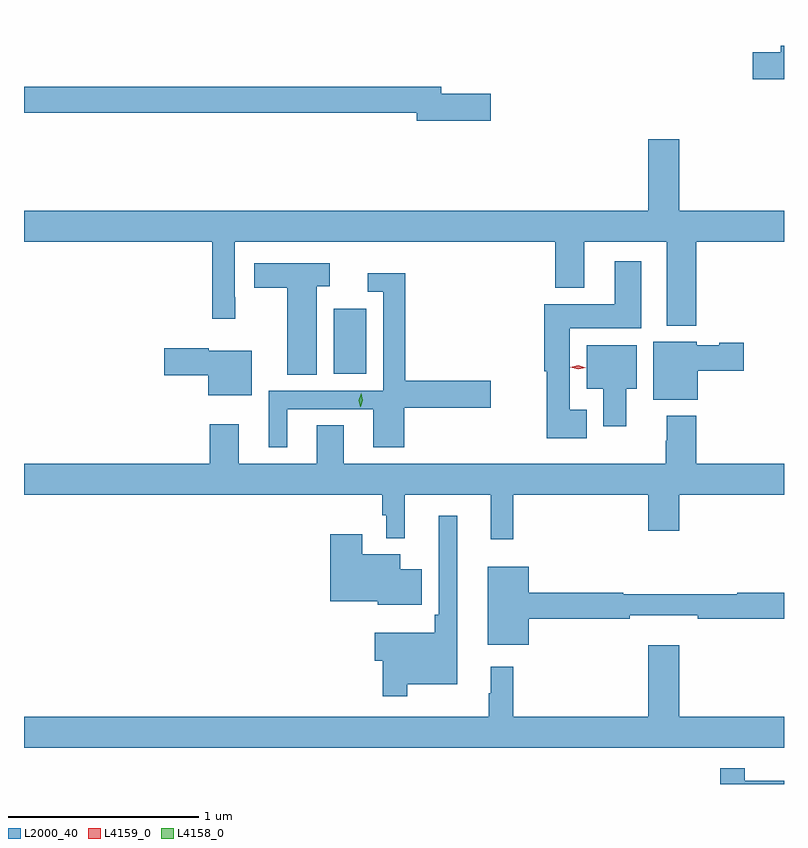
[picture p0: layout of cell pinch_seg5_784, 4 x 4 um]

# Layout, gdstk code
import gdstk
lib = gdstk.Library(unit=1e-6, precision=1e-09)
def R(c, l, rs):  # rectangles x0, y0, x1, y1
    for r in rs: c.add(gdstk.rectangle(r[:2], r[2:], *l))
def P(c, l, *ps):  # polygons
    for p in ps: c.add(gdstk.Polygon(p, *l))
L2000_40 = (2000, 40)
L4158_0 = (4158, 0)
L4159_0 = (4159, 0)

pinch_seg5_784 = lib.new_cell('pinch_seg5_784')
R(pinch_seg5_784, L2000_40, [(762.752,913.34,762.925,913.684), (764.408,915.18,764.572,915.182)])
P(pinch_seg5_784, L2000_40, [(765.123,915.067),(765.107,915.067),(765.107,915.033),(764.958,915.033),(764.958,914.891),(765.123,914.891)],
  [(763.579,914.816),(763.318,914.816),(763.318,914.852),(761.123,914.852),(761.123,914.716),(763.19,914.716),(763.19,914.674),(763.579,914.674)],
  [(764.66,914.036),(765.123,914.036),(765.123,914.2),(764.572,914.2),(764.572,914.575),(764.408,914.575),(764.408,914.2),(761.123,914.2),(761.123,914.036),(762.115,914.036),(762.115,913.632),(762.236,913.632),(762.236,913.744),(762.231,913.744),(762.231,914.036),(763.919,914.036),(763.919,913.793),(764.071,913.793),(764.071,914.036),(764.507,914.036),(764.507,913.595),(764.66,913.595)],
  [(764.086,913.153),(763.996,913.153),(763.996,913.58),(764.371,913.58),(764.371,913.933),(764.231,913.933),(764.231,913.708),(763.862,913.708),(763.862,913.355),(763.874,913.355),(763.874,913.001),(764.086,913.001)],
  [(762.664,913.802),(762.733,913.802),(762.733,913.924),(762.336,913.924),(762.336,913.795),(762.509,913.795),(762.509,913.336),(762.664,913.336)],
  [(762.508,913.155),(762.962,913.155),(762.962,912.954),(763.124,912.954),(763.124,913.162),(763.579,913.162),(763.579,913.304),(763.13,913.304),(763.13,913.87),(762.933,913.87),(762.933,913.773),(763.014,913.773),(763.014,913.251),(762.41,913.251),(762.41,912.954),(762.508,912.954)],
  [(764.668,913.358),(764.911,913.358),(764.911,913.505),(764.781,913.505),(764.781,913.492),(764.664,913.492),(764.664,913.51),(764.435,913.51),(764.435,913.205),(764.668,913.205)],
  [(764.293,913.262),(764.347,913.262),(764.347,913.492),(764.084,913.492),(764.084,913.262),(764.171,913.262),(764.171,913.065),(764.293,913.065)],
  [(762.322,913.462),(762.096,913.462),(762.096,913.475),(761.862,913.475),(761.862,913.333),(762.092,913.333),(762.092,913.229),(762.322,913.229)],
  [(762.805,913.07),(762.665,913.07),(762.665,912.868),(762.253,912.868),(762.253,913.075),(762.101,913.075),(762.101,912.868),(761.123,912.868),(761.123,912.704),(763.009,912.704),(763.009,912.597),(763.029,912.597),(763.029,912.476),(763.127,912.476),(763.127,912.704),(763.58,912.704),(763.58,912.471),(763.697,912.471),(763.697,912.704),(764.408,912.704),(764.408,912.516),(764.572,912.516),(764.572,912.704),(765.123,912.704),(765.123,912.868),(764.66,912.868),(764.66,913.12),(764.507,913.12),(764.507,912.989),(764.5,912.989),(764.5,912.868),(762.805,912.868)],
  [(763.141,911.708),(763.402,911.708),(763.402,912.595),(763.305,912.595),(763.305,912.073),(763.285,912.073),(763.285,911.977),(762.968,911.977),(762.968,911.83),(763.012,911.83),(763.012,911.643),(763.141,911.643)],
  [(763.216,912.313),(763.102,912.313),(763.102,912.391),(762.904,912.391),(762.904,912.496),(762.734,912.496),(762.734,912.143),(762.984,912.143),(762.984,912.125),(763.216,912.125)],
  [(763.78,912.052),(764.312,912.052),(764.312,912.071),(764.668,912.071),(764.668,912.052),(765.123,912.052),(765.123,912.188),(764.876,912.188),(764.876,912.181),(764.276,912.181),(764.276,912.188),(763.78,912.188),(763.78,912.325),(763.565,912.325),(763.565,911.915),(763.78,911.915)],
  [(765.123,911.536),(764.572,911.536),(764.572,911.911),(764.408,911.911),(764.408,911.536),(763.697,911.536),(763.697,911.8),(763.58,911.8),(763.58,911.66),(763.569,911.66),(763.569,911.536),(761.123,911.536),(761.123,911.372),(765.123,911.372)],
  [(765.123,911.2),(764.917,911.2),(764.917,911.266),(764.788,911.266),(764.788,911.182),(765.123,911.182)])
P(pinch_seg5_784, L4158_0, [(762.894,913.167),(762.886,913.203),(762.897,913.239),(762.898,913.239),(762.898,913.239),(762.906,913.203),(762.895,913.167),(762.895,913.167)])
P(pinch_seg5_784, L4159_0, [(764.039,913.365),(763.998,913.375),(763.998,913.375),(763.998,913.375),(764.039,913.385),(764.08,913.374),(764.08,913.374),(764.08,913.374)])

lib.write_gds('pinch_seg5_784.gds')
